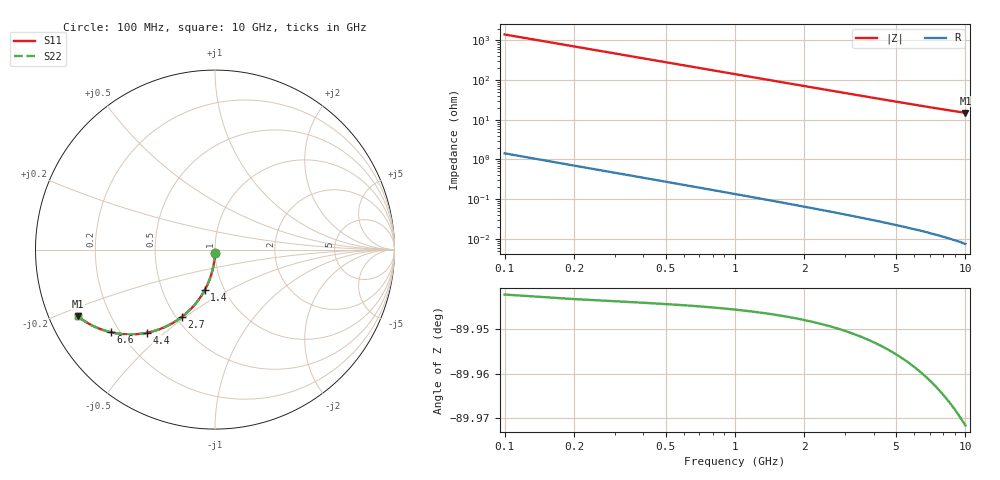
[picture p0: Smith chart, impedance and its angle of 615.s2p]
# Hz S RI R 50.00
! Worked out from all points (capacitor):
!   100 points, 100 MHz to 10 GHz, reference 50 ohm
!   read as one part in shunt: C = 1.12 pF near 100 MHz
!   lowest |Z| = 15 ohm at 10 GHz (marker M1)
!   S11 on the Smith chart (normalised r, x): 100 MHz: 1.00, -0.03; 1.4 GHz: 0.81, -0.39; 2.7 GHz: 0.53, -0.49; 4.4 GHz: 0.30, -0.44; 6.6 GHz: 0.17, -0.34; 10 GHz: 0.08, -0.23
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1e8  -3.03e-05 -0.0172  0.9994 -0.0181  0.9994 -0.0181  -3.03e-05 -0.0172
2e8  -0.000978 -0.0343  0.9984 -0.0362  0.9984 -0.0362  -0.000978 -0.0343
3e8  -0.00254 -0.0513  0.9968 -0.0543  0.9968 -0.0543  -0.00254 -0.0513
4e8  -0.00472 -0.0683  0.9947 -0.0722  0.9947 -0.0722  -0.00472 -0.0683
5e8  -0.00751 -0.0851  0.9919 -0.09  0.9919 -0.09  -0.00751 -0.0851
6e8  -0.0109 -0.1018  0.9885 -0.1076  0.9885 -0.1076  -0.0109 -0.1018
7e8  -0.0148 -0.1183  0.9845 -0.1251  0.9845 -0.1251  -0.0148 -0.1183
9e8  -0.0245 -0.1506  0.9749 -0.1593  0.9749 -0.1593  -0.0245 -0.1506
1.1e9  -0.0362 -0.1818  0.9631 -0.1925  0.9631 -0.1925  -0.0362 -0.1818
1.4e9  -0.0575 -0.2261  0.9418 -0.2397  0.9418 -0.2397  -0.0575 -0.2261
1.8e9  -0.0917 -0.2799  0.9075 -0.2974  0.9075 -0.2974  -0.0917 -0.2799
2.2e9  -0.1312 -0.3269  0.8679 -0.3483  0.8679 -0.3483  -0.1312 -0.3269
2.7e9  -0.1856 -0.3755  0.8134 -0.4018  0.8134 -0.4018  -0.1856 -0.3755
3.4e9  -0.2659 -0.425  0.7329 -0.4582  0.7329 -0.4582  -0.2659 -0.425
4.4e9  -0.3785 -0.4632  0.6199 -0.5062  0.6199 -0.5062  -0.3785 -0.4632
5.1e9  -0.4509 -0.4722  0.5472 -0.5221  0.5472 -0.5221  -0.4509 -0.4722
5.8e9  -0.516 -0.4707  0.4817 -0.5276  0.4817 -0.5276  -0.516 -0.4707
6.6e9  -0.5811 -0.4601  0.4161 -0.5251  0.4161 -0.5251  -0.5811 -0.4601
6.7e9  -0.5885 -0.4583  0.4086 -0.5243  0.4086 -0.5243  -0.5885 -0.4583
7.5e9  -0.643 -0.4409  0.3535 -0.5151  0.3535 -0.5151  -0.643 -0.4409
8.4e9  -0.6946 -0.4174  0.3012 -0.5008  0.3012 -0.5008  -0.6946 -0.4174
1e10  -0.7653 -0.3712  0.2289 -0.4715  0.2289 -0.4715  -0.7653 -0.3712
